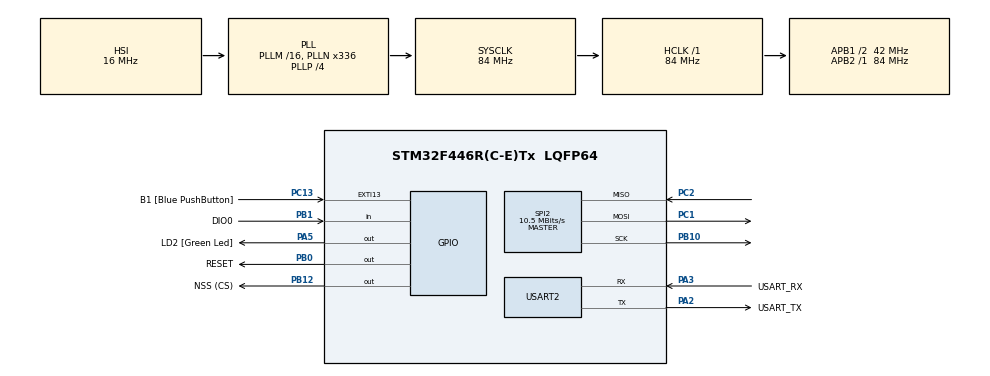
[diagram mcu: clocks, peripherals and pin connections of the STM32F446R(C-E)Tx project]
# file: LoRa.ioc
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Mcu.Family=STM32F4
Mcu.Name=STM32F446R(C-E)Tx
Mcu.Package=LQFP64
NVIC.PriorityGroup=NVIC_PRIORITYGROUP_0
PA13.GPIO_Label=TMS
PA13.Signal=SYS_JTMS-SWDIO
PA14.GPIO_Label=TCK
PA14.Signal=SYS_JTCK-SWCLK
PA2.GPIO_Label=USART_TX
PA2.Mode=Asynchronous
PA2.Signal=USART2_TX
PA3.GPIO_Label=USART_RX
PA3.Mode=Asynchronous
PA3.Signal=USART2_RX
PA5.GPIO_Label=LD2 [Green Led]
PA5.Signal=GPIO_Output
PB0.GPIO_Label=RESET
PB0.Signal=GPIO_Output
PB1.GPIO_Label=DIO0
PB1.Signal=GPIO_Input
PB10.Mode=Full_Duplex_Master
PB10.Signal=SPI2_SCK
PB12.GPIO_Label=NSS (CS)
PB12.Signal=GPIO_Output
PB3.GPIO_Label=SWO
PB3.Signal=SYS_JTDO-SWO
PC1.Mode=Full_Duplex_Master
PC1.Signal=SPI2_MOSI
PC13.GPIO_Label=B1 [Blue PushButton]
PC13.GPIO_ModeDefaultEXTI=GPIO_MODE_IT_FALLING
PC13.Signal=GPXTI13
PC14-OSC32_IN.Signal=RCC_OSC32_IN
PC15-OSC32_OUT.Signal=RCC_OSC32_OUT
PC2.Mode=Full_Duplex_Master
PC2.Signal=SPI2_MISO
PH0-OSC_IN.Signal=RCC_OSC_IN
PH1-OSC_OUT.Signal=RCC_OSC_OUT
ProjectManager.HeapSize=0x200
ProjectManager.StackSize=0x400
ProjectManager.TargetToolchain=STM32CubeIDE
RCC.AHBFreq_Value=84000000
RCC.APB1CLKDivider=RCC_HCLK_DIV2
RCC.APB1Freq_Value=42000000
RCC.APB1TimFreq_Value=84000000
RCC.APB2Freq_Value=84000000
RCC.APB2TimFreq_Value=84000000
RCC.CortexFreq_Value=84000000
RCC.FLatency-AdvancedSettings=FLASH_LATENCY_2
RCC.HCLKFreq_Value=84000000
RCC.HSE_VALUE=8000000
RCC.HSI_VALUE=16000000
RCC.LSE_VALUE=32768
RCC.PLLN=336
RCC.PLLP=RCC_PLLP_DIV4
RCC.SYSCLKFreq_VALUE=84000000
RCC.SYSCLKSource=RCC_SYSCLKSOURCE_PLLCLK
RCC.USBFreq_Value=168000000
RCC.VCOOutputFreq_Value=336000000
SPI2.BaudRatePrescaler=SPI_BAUDRATEPRESCALER_4
SPI2.CalculateBaudRate=10.5 MBits/s
SPI2.Direction=SPI_DIRECTION_2LINES
SPI2.Mode=SPI_MODE_MASTER
SPI2.VirtualType=VM_MASTER
USART2.VirtualMode=VM_ASYNC
board=NUCLEO-F446RE

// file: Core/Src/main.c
/* USER CODE BEGIN Header */
/**
  ******************************************************************************
  * @file           : main.c
  * @brief          : Main program body
  ******************************************************************************
  * @attention
  *
  * Copyright (c) 2025 STMicroelectronics.
  * All rights reserved.
  *
  * This software is licensed under terms that can be found in the LICENSE file
  * in the root directory of this software component.
  * If no LICENSE file comes with this software, it is provided AS-IS.
  *
  ******************************************************************************
  */
/* USER CODE END Header */
#include "main.h"

/* USER CODE BEGIN Includes */
#include "rfm95.h"
/* USER CODE END Includes */

SPI_HandleTypeDef hspi2;

UART_HandleTypeDef huart2;

void SystemClock_Config(void);
static void MX_GPIO_Init(void);
static void MX_SPI2_Init(void);
static void MX_USART2_UART_Init(void);

int main(void)
{

  /* MCU Configuration--------------------------------------------------------*/

  /* Reset of all peripherals, Initializes the Flash interface and the Systick. */
  HAL_Init();

  /* Configure the system clock */
  SystemClock_Config();

  /* Initialize all configured peripherals */
  MX_GPIO_Init();
  MX_SPI2_Init();
  MX_USART2_UART_Init();
  /* USER CODE BEGIN 2 */

  // Mensagem de início
  char startMsg[] = "\r\nInicializando transmissor LoRa...\r\n";
  HAL_UART_Transmit(&huart2, (uint8_t*)startMsg, strlen(startMsg), HAL_MAX_DELAY);

  // Inicializar o módulo LoRa RFM95
  while (RFM95_Init() != RFM95_OK) {
      // Se falhar, travar execução
      char errMsg[] = "Falha na inicializacao do RFM95! Vou tentar outra vez.\r\n";
      HAL_UART_Transmit(&huart2, (uint8_t*)errMsg, strlen(errMsg), HAL_MAX_DELAY);
      //HAL_Delay(10);
  }

  // Loop de transmissão periódica
  uint16_t counter = 0;
  char buffer[20];

  /* USER CODE END 2 */

  /* Infinite loop */
  while (1)
  {

    /* USER CODE BEGIN 3 */
	  // Montar a mensagem "HELLO #N"
	 sprintf(buffer, "HELLO #%u", counter);
	 uint8_t len = strlen(buffer);

	 // Enviar a mensagem via LoRa
	 RFM95_SendPacket((uint8_t*)buffer, len);

	 // Mensagem de depuração na UART
	 char dbgMsg[50];
	 sprintf(dbgMsg, "[LoRa] Enviado: %s\r\n", buffer);
	 HAL_UART_Transmit(&huart2, (uint8_t*)dbgMsg, strlen(dbgMsg), HAL_MAX_DELAY);

	 counter++;              // incrementar contador
	 HAL_Delay(2000);        // aguardar 2 segundos para próximo envio
  }
  /* USER CODE END 3 */
}

void SystemClock_Config(void)
{
  RCC_OscInitTypeDef RCC_OscInitStruct = {0};
  RCC_ClkInitTypeDef RCC_ClkInitStruct = {0};

  /** Configure the main internal regulator output voltage
  */
  __HAL_RCC_PWR_CLK_ENABLE();
  __HAL_PWR_VOLTAGESCALING_CONFIG(PWR_REGULATOR_VOLTAGE_SCALE3);

  /** Initializes the RCC Oscillators according to the specified parameters
  * in the RCC_OscInitTypeDef structure.
  */
  RCC_OscInitStruct.OscillatorType = RCC_OSCILLATORTYPE_HSI;
  RCC_OscInitStruct.HSIState = RCC_HSI_ON;
  RCC_OscInitStruct.HSICalibrationValue = RCC_HSICALIBRATION_DEFAULT;
  RCC_OscInitStruct.PLL.PLLState = RCC_PLL_ON;
  RCC_OscInitStruct.PLL.PLLSource = RCC_PLLSOURCE_HSI;
  RCC_OscInitStruct.PLL.PLLM = 16;
  RCC_OscInitStruct.PLL.PLLN = 336;
  RCC_OscInitStruct.PLL.PLLP = RCC_PLLP_DIV4;
  RCC_OscInitStruct.PLL.PLLQ = 2;
  RCC_OscInitStruct.PLL.PLLR = 2;
  if (HAL_RCC_OscConfig(&RCC_OscInitStruct) != HAL_OK)
  {
    Error_Handler();
  }

  /** Initializes the CPU, AHB and APB buses clocks
  */
  RCC_ClkInitStruct.ClockType = RCC_CLOCKTYPE_HCLK|RCC_CLOCKTYPE_SYSCLK
                              |RCC_CLOCKTYPE_PCLK1|RCC_CLOCKTYPE_PCLK2;
  RCC_ClkInitStruct.SYSCLKSource = RCC_SYSCLKSOURCE_PLLCLK;
  RCC_ClkInitStruct.AHBCLKDivider = RCC_SYSCLK_DIV1;
  RCC_ClkInitStruct.APB1CLKDivider = RCC_HCLK_DIV2;
  RCC_ClkInitStruct.APB2CLKDivider = RCC_HCLK_DIV1;

  if (HAL_RCC_ClockConfig(&RCC_ClkInitStruct, FLASH_LATENCY_2) != HAL_OK)
  {
    Error_Handler();
  }
}

static void MX_SPI2_Init(void)
{

  /* SPI2 parameter configuration*/
  hspi2.Instance = SPI2;
  hspi2.Init.Mode = SPI_MODE_MASTER;
  hspi2.Init.Direction = SPI_DIRECTION_2LINES;
  hspi2.Init.DataSize = SPI_DATASIZE_8BIT;
  hspi2.Init.CLKPolarity = SPI_POLARITY_LOW;
  hspi2.Init.CLKPhase = SPI_PHASE_1EDGE;
  hspi2.Init.NSS = SPI_NSS_SOFT;
  hspi2.Init.BaudRatePrescaler = SPI_BAUDRATEPRESCALER_4;
  hspi2.Init.FirstBit = SPI_FIRSTBIT_MSB;
  hspi2.Init.TIMode = SPI_TIMODE_DISABLE;
  hspi2.Init.CRCCalculation = SPI_CRCCALCULATION_DISABLE;
  hspi2.Init.CRCPolynomial = 10;
  if (HAL_SPI_Init(&hspi2) != HAL_OK)
  {
    Error_Handler();
  }

}

static void MX_USART2_UART_Init(void)
{

  huart2.Instance = USART2;
  huart2.Init.BaudRate = 115200;
  huart2.Init.WordLength = UART_WORDLENGTH_8B;
  huart2.Init.StopBits = UART_STOPBITS_1;
  huart2.Init.Parity = UART_PARITY_NONE;
  huart2.Init.Mode = UART_MODE_TX_RX;
  huart2.Init.HwFlowCtl = UART_HWCONTROL_NONE;
  huart2.Init.OverSampling = UART_OVERSAMPLING_16;
  if (HAL_UART_Init(&huart2) != HAL_OK)
  {
    Error_Handler();
  }

}

static void MX_GPIO_Init(void)
{
  GPIO_InitTypeDef GPIO_InitStruct = {0};

  /* GPIO Ports Clock Enable */
  __HAL_RCC_GPIOC_CLK_ENABLE();
  __HAL_RCC_GPIOH_CLK_ENABLE();
  __HAL_RCC_GPIOA_CLK_ENABLE();
  __HAL_RCC_GPIOB_CLK_ENABLE();

  /*Configure GPIO pin Output Level */
  HAL_GPIO_WritePin(LD2_GPIO_Port, LD2_Pin, GPIO_PIN_RESET);

  /*Configure GPIO pin Output Level */
  HAL_GPIO_WritePin(GPIOB, RESET_Pin|NSS_Pin, GPIO_PIN_RESET);

  /*Configure GPIO pin : B1_Pin */
  GPIO_InitStruct.Pin = B1_Pin;
  GPIO_InitStruct.Mode = GPIO_MODE_IT_FALLING;
  GPIO_InitStruct.Pull = GPIO_NOPULL;
  HAL_GPIO_Init(B1_GPIO_Port, &GPIO_InitStruct);

  /*Configure GPIO pin : LD2_Pin */
  GPIO_InitStruct.Pin = LD2_Pin;
  GPIO_InitStruct.Mode = GPIO_MODE_OUTPUT_PP;
  GPIO_InitStruct.Pull = GPIO_NOPULL;
  GPIO_InitStruct.Speed = GPIO_SPEED_FREQ_LOW;
  HAL_GPIO_Init(LD2_GPIO_Port, &GPIO_InitStruct);

  /*Configure GPIO pins : RESET_Pin NSS_Pin */
  GPIO_InitStruct.Pin = RESET_Pin|NSS_Pin;
  GPIO_InitStruct.Mode = GPIO_MODE_OUTPUT_PP;
  GPIO_InitStruct.Pull = GPIO_NOPULL;
  GPIO_InitStruct.Speed = GPIO_SPEED_FREQ_LOW;
  HAL_GPIO_Init(GPIOB, &GPIO_InitStruct);

  /*Configure GPIO pin : DIO0_Pin */
  GPIO_InitStruct.Pin = DIO0_Pin;
  GPIO_InitStruct.Mode = GPIO_MODE_INPUT;
  GPIO_InitStruct.Pull = GPIO_NOPULL;
  HAL_GPIO_Init(DIO0_GPIO_Port, &GPIO_InitStruct);

}

void Error_Handler(void)
{
  __disable_irq();
  while (1)
  {
  }
}
